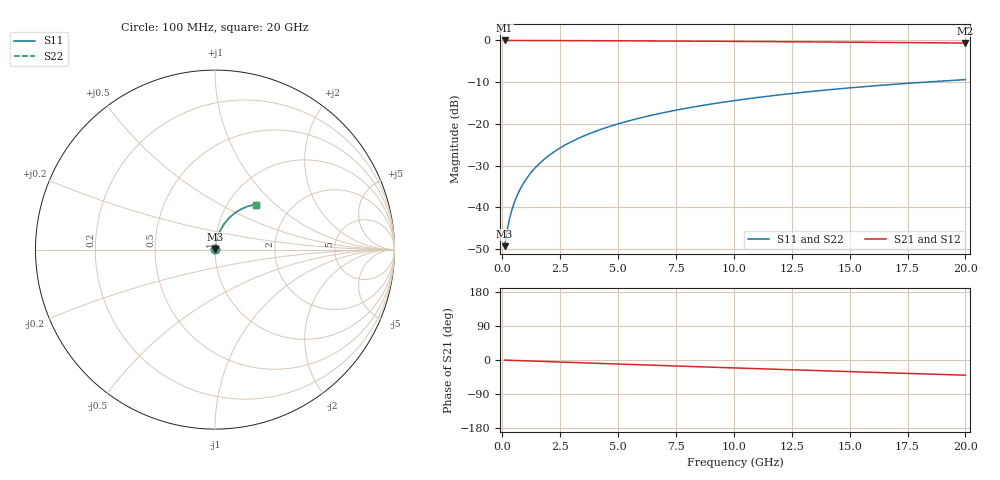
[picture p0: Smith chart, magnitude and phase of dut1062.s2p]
! Touchstone file exported from HFSS 2026.1.0
!  File:  C:/ffzhzh/LocalFiles/Ansys_Project_Files/temp_train_TMRDL_1062_1783160596_55132.aedt
!  Generated:  06:24:37 PM Jul  4, 2026
!  Design:  TMRDL
!  Project:  temp_train_TMRDL_1062_1783160596_55132
! Variables:
!  h_bsmrdl = 2um
!  h_ox = 20um
!  h_rdl = 5um
!  h_sub = 80um
!  h_tmrdl = 5.91um
!  h_tsv = 80um
!  h_via = 3um
!  l_bsmrdl = 300um
!  l_sub = 1024.31um
!  l_tmrdl = 624.31um
!  m_sub = 200um
!  pitch = 35.48um
!  r_tsv = 6um
!  s_tmrdl = 10um
!  w_bsmrdl = 18um
!  w_sub = 500um
!  w_tmrdl = 15um
!  x_tsv_center1 = 631.81um
!  x_tsv_center2 = 949.81um
!  x_tsv_center3 = 1589.12um
!  x_tsv_center4 = 1907.12um
!  x_tsv_center5 = 2546.43um
!  x_tsv_center6 = 2864.43um
# GHz S MA R 50.000000
! Terminal data exported
! Port[1] = TM_RDL1_1_T1
! Port[2] = TM_RDL1_1_T2
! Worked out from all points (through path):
!   200 points, 100 MHz to 20 GHz, reference 50 ohm
!   highest |S21| = -0.02 dB at 100 MHz (marker M1); lowest = -0.6 dB at 20 GHz (marker M2)
!   group delay of S21, straight-line fit = 5.56 ps
!   lowest |S11| = -49.3 dB at 100 MHz (marker M3), VSWR 1.01, Z = 50.3 + j0.225 ohm
!   |S11| at or under -10 dB: start of sweep to 18.27 GHz
!   |S22| runs from -49.3 to -9.4 dB; largest |S21 - S12| = 2.2e-15
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0.1  0.00343 40.7  0.9974 -0.2  0.9974 -0.2  0.00343 40.7
! Gamma 0 0 0 0
! Port Impedance 50 0 50 0
0.2  0.005171 57.9  0.9973 -0.5  0.9973 -0.5  0.005171 57.9
0.3  0.007078 65.8  0.9972 -0.7  0.9972 -0.7  0.007078 65.8
0.4  0.009037 70.4  0.9971 -0.9  0.9971 -0.9  0.009037 70.4
0.5  0.01103 73.3  0.997 -1.1  0.997 -1.1  0.01103 73.3
0.6  0.01304 75.3  0.9969 -1.3  0.9969 -1.3  0.01304 75.3
0.8  0.0171 77.7  0.9967 -1.8  0.9967 -1.8  0.0171 77.7
1.1  0.02322 79.4  0.9964 -2.4  0.9964 -2.4  0.02322 79.4
1.5  0.03139 80.2  0.9959 -3.3  0.9959 -3.3  0.03139 80.2
1.8  0.03749 80.3  0.9955 -3.9  0.9955 -3.9  0.03749 80.3
2.1  0.04355 80.1  0.995 -4.6  0.995 -4.6  0.04355 80.1
2.7  0.05554 79.4  0.9939 -5.9  0.9939 -5.9  0.05554 79.4
3.5  0.07126 78.1  0.9921 -7.5  0.9921 -7.5  0.07126 78.1
4.2  0.08476 76.9  0.9904 -9.0  0.9904 -9.0  0.08476 76.9
5  0.09994 75.5  0.9883 -10.7  0.9883 -10.7  0.09994 75.5
5.9  0.1167 73.8  0.9858 -12.6  0.9858 -12.6  0.1167 73.8
6.8  0.1332 72.2  0.9831 -14.4  0.9831 -14.4  0.1332 72.2
8.3  0.1601 69.4  0.9783 -17.5  0.9783 -17.5  0.1601 69.4
10.1  0.1913 66.0  0.9718 -21.1  0.9718 -21.1  0.1914 66.0
13.4  0.2453 59.8  0.9585 -27.6  0.9585 -27.6  0.2453 59.9
16.7  0.2945 53.8  0.9438 -34.0  0.9438 -34.0  0.2945 53.8
20  0.3387 47.8  0.9285 -40.1  0.9285 -40.1  0.3387 47.9
